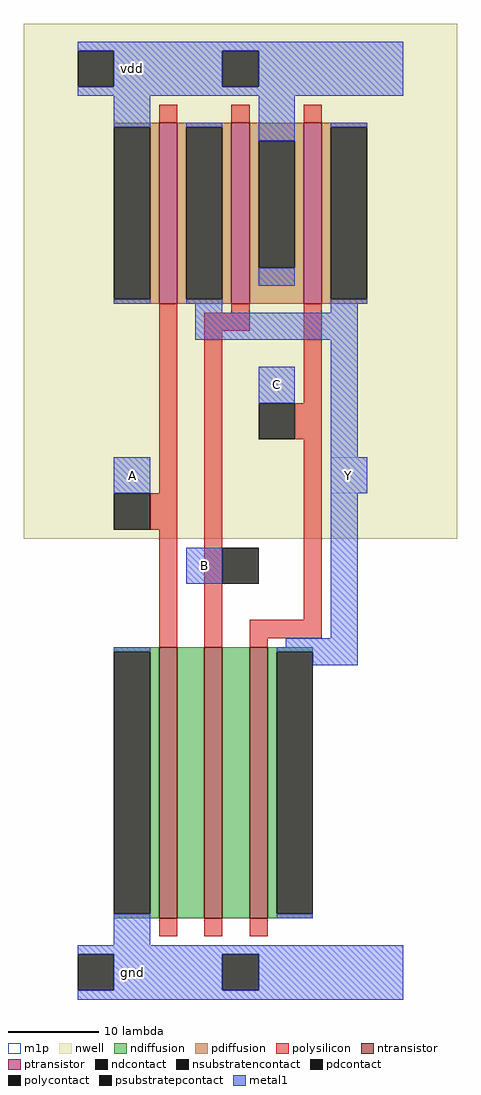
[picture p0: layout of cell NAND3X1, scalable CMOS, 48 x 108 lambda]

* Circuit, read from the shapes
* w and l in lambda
.subckt NAND3X1 A B C Y vdd gnd
M1 n1 A gnd gnd nfet w=30 l=2
M2 n2 B n1 gnd nfet w=30 l=2
M3 Y C n2 gnd nfet w=30 l=2
M4 Y A vdd vdd pfet w=20 l=2
M5 vdd B Y vdd pfet w=20 l=2
M6 Y C vdd vdd pfet w=20 l=2
.ends

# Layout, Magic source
magic
tech scmos
magscale 1 2
<< nwell >>
rect -16 96 80 210
<< ntransistor >>
rect 14 12 18 72
rect 24 12 28 72
rect 34 12 38 72
<< ptransistor >>
rect 14 148 18 188
rect 30 148 34 188
rect 46 148 50 188
<< ndiffusion >>
rect 4 71 14 72
rect 12 13 14 71
rect 4 12 14 13
rect 18 12 24 72
rect 28 12 34 72
rect 38 71 48 72
rect 38 13 40 71
rect 38 12 48 13
<< pdiffusion >>
rect 4 187 14 188
rect 12 149 14 187
rect 4 148 14 149
rect 18 187 30 188
rect 18 149 20 187
rect 28 149 30 187
rect 18 148 30 149
rect 34 184 46 188
rect 34 156 36 184
rect 44 156 46 184
rect 34 148 46 156
rect 50 187 60 188
rect 50 149 52 187
rect 50 148 60 149
<< ndcontact >>
rect 4 13 12 71
rect 40 13 48 71
<< pdcontact >>
rect 4 149 12 187
rect 20 149 28 187
rect 36 156 44 184
rect 52 149 60 187
<< psubstratepcontact >>
rect -4 -4 4 4
rect 28 -4 36 4
<< nsubstratencontact >>
rect -4 196 4 204
rect 28 196 36 204
<< polysilicon >>
rect 14 188 18 192
rect 30 188 34 192
rect 46 188 50 192
rect 14 106 18 148
rect 30 146 34 148
rect 12 98 18 106
rect 14 72 18 98
rect 24 142 34 146
rect 24 72 28 142
rect 46 126 50 148
rect 44 118 50 126
rect 46 78 50 118
rect 34 74 50 78
rect 34 72 38 74
rect 14 8 18 12
rect 24 8 28 12
rect 34 8 38 12
<< polycontact >>
rect 4 98 12 106
rect 36 118 44 126
rect 28 86 36 94
<< metal1 >>
rect -4 204 68 206
rect 4 196 28 204
rect 36 196 68 204
rect -4 194 68 196
rect 4 187 12 194
rect 4 148 12 149
rect 20 187 28 188
rect 36 184 44 194
rect 36 152 44 156
rect 52 187 60 188
rect 20 148 28 149
rect 22 146 28 148
rect 52 148 60 149
rect 52 146 58 148
rect 22 140 58 146
rect 36 126 44 134
rect 52 114 58 140
rect 4 106 12 114
rect 52 106 60 114
rect 20 86 28 94
rect 52 74 58 106
rect 42 72 58 74
rect 4 71 12 72
rect 4 6 12 13
rect 40 71 58 72
rect 48 68 58 71
rect 40 12 48 13
rect -4 4 68 6
rect 4 -4 28 4
rect 36 -4 68 4
rect -4 -6 68 -4
<< m1p >>
rect 36 126 44 134
rect 4 106 12 114
rect 52 106 60 114
rect 20 86 28 94
<< labels >>
rlabel metal1 24 90 24 90 4 B
port 2 se
rlabel metal1 8 200 8 200 4 vdd
port 5 se
rlabel metal1 8 0 8 0 4 gnd
port 6 se
rlabel metal1 8 110 8 110 4 A
port 1 se
rlabel metal1 40 130 40 130 4 C
port 3 se
rlabel metal1 56 110 56 110 4 Y
port 4 se
<< end >>
